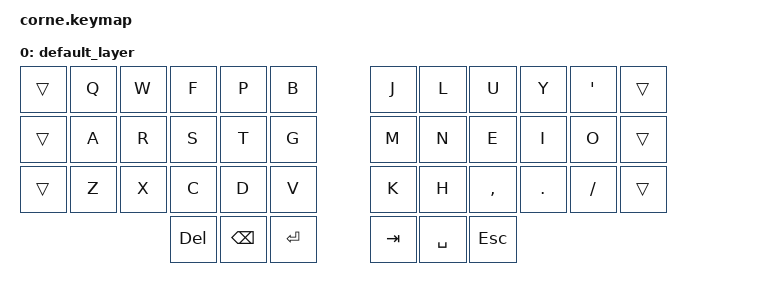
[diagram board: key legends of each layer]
#include <behaviors.dtsi>
#include <dt-bindings/zmk/keys.h>
#include <dt-bindings/zmk/bt.h>

/ {
    keymap {
        compatible = "zmk,keymap";
        default_layer {
            bindings = <
  &trans   &kp Q   &kp W   &kp F   &kp P     &kp B                              &kp J       &kp L     &kp U       &kp Y     &kp SQT    &trans
  &trans   &kp A   &kp R   &kp S   &kp T     &kp G                              &kp M       &kp N     &kp E       &kp I     &kp O      &trans
  &trans   &kp Z   &kp X   &kp C   &kp D     &kp V                              &kp K       &kp H     &kp COMMA   &kp DOT   &kp FSLH   &trans
                                   &kp DEL   &kp BSPC   &kp RET       &kp TAB   &kp SPACE   &kp ESC                                          
            >;
        };
    };
};
